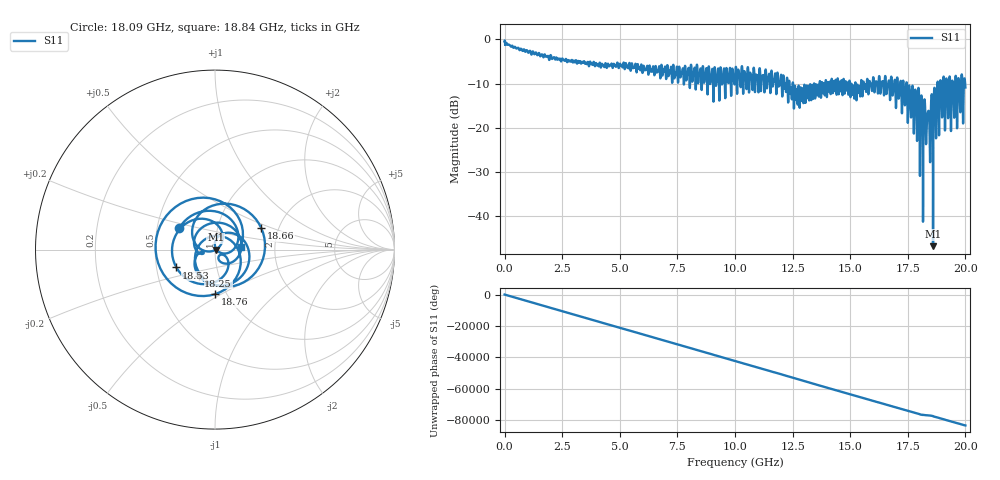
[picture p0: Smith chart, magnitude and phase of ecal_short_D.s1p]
! MS46122B
! 2250307/22442219
! 6/15/2025 10:58:45 AM
! C:\USERS\SPARKY\DOCUMENTS\VNA_DATA\JUNE15_2025\295K\ECAL_SHORT_D.S1P
! CHANNEL.1
! TR.MEASUREMENT
! RAW.DATA
# GHZ S RI R 50.0
! FREQ.GHZ  S11RE  S11IM
!; PortSelection: Port_1
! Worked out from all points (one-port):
!   10001 points, 1 MHz to 20 GHz, reference 50 ohm
!   lowest |S11| = -46.7 dB at 18.6 GHz (marker M1), VSWR 1.01, Z = 50.5 - j0.0762 ohm
!   |S11| at or under -10 dB: 12.52 GHz to 13.43 GHz (909.9 MHz wide, 7.01 % of centre); 13.44 GHz to 13.67 GHz (232.6 MHz wide, 1.72 % of centre); 17.46 GHz to 18.78 GHz (1.326 GHz wide, 7.32 % of centre) (the widest 3 of 79)
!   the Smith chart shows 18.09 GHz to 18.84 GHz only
!   S11 on the Smith chart (normalised r, x): 18.09 GHz: 0.65, +0.16; 18.25 GHz: 0.80, -0.24; 18.53 GHz: 0.63, -0.13; 18.66 GHz: 1.62, +0.43; 18.76 GHz: 0.89, -0.47; 18.84 GHz: 1.33, +0.04
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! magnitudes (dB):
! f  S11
! 1 MHz  -0.5
! 2.501 GHz  -4.3
! 5.001 GHz  -5.5
! 7.501 GHz  -7.1
! 10 GHz  -8.9
! 11.66 GHz  -9.3
! 12.5 GHz  -10.1
! 15 GHz  -12.1
! 16.33 GHz  -10.9
! 17.5 GHz  -18.8
! 17.83 GHz  -11.4
! 17.9 GHz  -22.5
! 17.96 GHz  -11.0
! 18.03 GHz  -29.7
! 18.09 GHz  -12.7
! 18.16 GHz  -35.0
! 18.25 GHz  -15.4
! 18.29 GHz  -23.7
! 18.53 GHz  -12.5
! 18.6 GHz  -46.7
! 18.66 GHz  -10.9
! 18.72 GHz  -21.2
! 18.76 GHz  -12.1
! 18.84 GHz  -16.9
! 19.25 GHz  -17.7
! 19.45 GHz  -9.5
! 19.51 GHz  -17.0
! 20 GHz  -10.9
